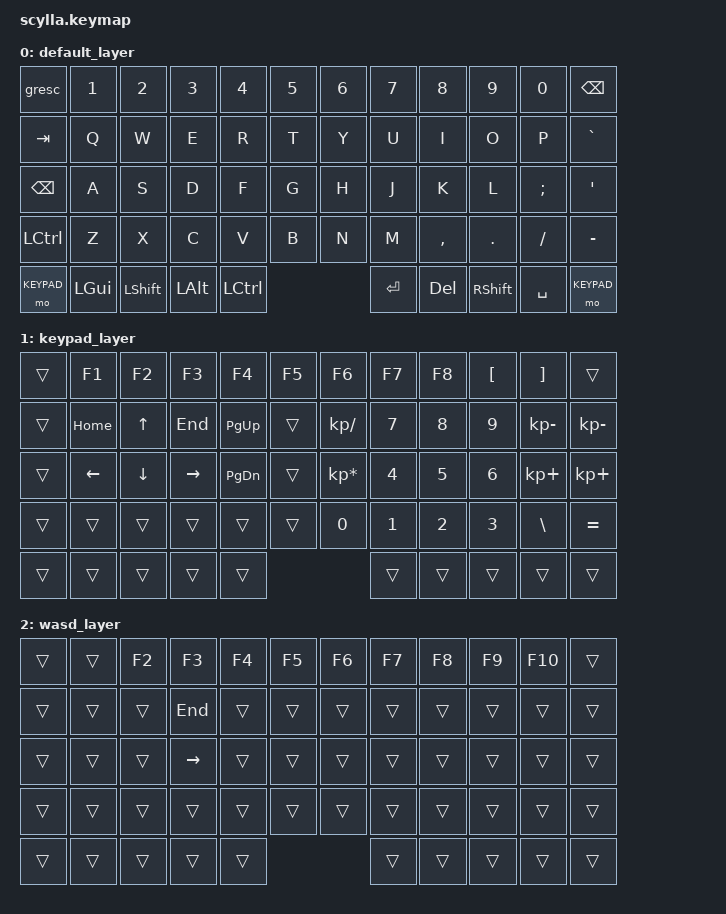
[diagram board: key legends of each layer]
/*
 * Copyright (c) 2021 The ZMK Contributors
 *
 * SPDX-License-Identifier: MIT
 */

#include <behaviors.dtsi>
#include <dt-bindings/zmk/keys.h>
#include <dt-bindings/zmk/bt.h>
#include <dt-bindings/zmk/ext_power.h>
#include <dt-bindings/zmk/outputs.h>


#define DEFAULT 0
#define KEYPAD  1
#define WASD    2

#define NONE 0

/ {

    behaviors {
        td_bt: tapdance_bluetooth_clear {
            compatible = "zmk,behavior-tap-dance";
            label = "TAPDANCE_BLUETOOTH_CLEAR";
            #binding-cells = <0>;
            tapping-term-ms = <300>;
            bindings = <&trans>, <&trans>, <&bt BT_CLR>;
        };
    };

    keymap {
        compatible =  "zmk,keymap" ;

        default_layer {
// --------------------------------------------------------------------------------------------------------------------------------------------------
// | ESC    |   1       |   2       |   3       |   4       |  5    |  ---  |   6       |   7       |   8       |   9       |   0       |   BKSP    |
// | TAB    |   Q       |   W       |   F       |   P       |  G    |  ---  |   J       |   L       |   U       |   Y       |   ;       |   `       |
// | BKSP   |   A       |   R       |   S       |   T       |  D    |  ---  |   H       |   N       |   E       |   I       |   O       |   '       |
// | CTRL   |   Z       |   X       |   C       |   V       |  B    |  ---  |   K       |   M       |   ,       |   .       |   /       |   -       |
// | RAISE  |   LGUI    |   LSHIFT  |   LALT    |   LCTRL   |          ---              |   ENTER   |   DEL     |   RSHIFT  |   SPACE   |   RAISE   |
            bindings = <
   &gresc       &kp N1      &kp N2      &kp N3      &kp N4      &kp N5          &kp N6      &kp N7      &kp N8      &kp N9      &kp N0      &kp BSPC
   &kp TAB      &kp Q       &kp W       &kp E       &kp R       &kp T           &kp Y       &kp U       &kp I       &kp O       &kp P       &kp GRAVE
   &kp BSPC     &kp A       &kp S       &kp D       &kp F       &kp G           &kp H       &kp J       &kp K       &kp L       &kp SEMI    &kp SQT
   &kp LCTRL    &kp Z       &kp X       &kp C       &kp V       &kp B           &kp N       &kp M       &kp COMMA   &kp DOT     &kp FSLH    &kp MINUS
   &mo KEYPAD   &kp LGUI    &kp LSHIFT  &kp LALT    &kp LCTRL                               &kp RET     &kp DEL     &kp RSHIFT  &kp SPACE   &mo KEYPAD

            >;

        };

        keypad_layer {
// --------------------------------------------------------------------------------------------------------------------------------------------------
// |            |   F1      |   F2      |   F3      |   F4      |  F5   |  ---  |   F6      |   F7      |   F8      |   [       |   ]       |           |
// |            |   HOME    |   ^       |   END     |   PGUP    |       |  ---  |   \       |   7       |   8       |   9       |   -       |   -       |
// |            |   <-      |   v       |   ->      |   PGDN    |       |  ---  |   *       |   4       |   5       |   6       |   +       |   +       |
// |            |           |           |           |           |       |  ---  |   0       |   1       |   2       |   3       |   \       |   =       |
// |            |           |           |           |           |          ---              |           |           |           |           |           |
            bindings = <
        &trans      &kp F1      &kp F2      &kp F3      &kp F4      &kp F5          &kp F6          &kp F7      &kp F8      &kp LBKT    &kp RBKT    &trans
        &trans      &kp HOME    &kp UP      &kp END     &kp PG_UP   &trans          &kp KP_DIVIDE   &kp N7      &kp N8      &kp N9     &kp KP_MINUS &kp KP_MINUS
        &trans      &kp LEFT    &kp DOWN    &kp RIGHT   &kp PG_DN   &trans          &kp KP_MULTIPLY &kp N4      &kp N5      &kp N6      &kp KP_PLUS &kp KP_PLUS
        &trans      &trans      &trans      &trans      &trans      &trans          &kp N0          &kp N1      &kp N2      &kp N3      &kp BSLH    &kp EQUAL
        &trans      &trans      &trans      &trans      &trans                                      &trans      &trans      &trans      &trans      &trans
            >;
        };

        wasd_layer {
// --------------------------------------------------------------------------------------------------------------------------------------------------
// |        |   F1      |   F2      |   F3      |   F4      |  F5   |  ---  |   F6      |   F7      |   F8      |   F9      |   F10     |           |
// |        |           |           |           |           |       |  ---  |           |           |           |           |           |           |
// | BT_NXT |           |           |           |           |       |  ---  |           |           |           |           |           |           |
// |        |           |           |           |           |       |  ---  |           |           |           |           |           |           |
// |        |           |           |           |           |          ---              |           |           |           |           |           |
            bindings = <
   &trans   &trans      &kp F2      &kp F3      &kp F4      &kp F5          &kp F6          &kp F7      &kp F8      &kp F9      &kp F10     &trans
   &trans   &trans      &trans      &kp END     &trans      &trans          &trans          &trans      &trans      &trans      &trans      &trans
   &trans   &trans      &trans      &kp RIGHT   &trans      &trans          &trans          &trans      &trans      &trans      &trans      &trans
   &trans   &trans      &trans      &trans      &trans      &trans          &trans          &trans      &trans      &trans      &trans      &trans
   &trans   &trans      &trans      &trans      &trans                                      &trans      &trans      &trans      &trans      &trans
            >;
        };

    };

};
